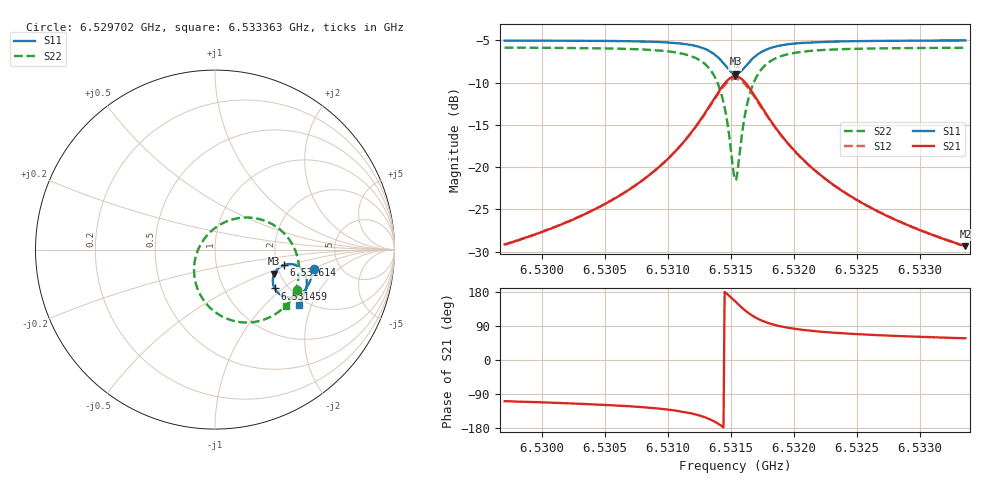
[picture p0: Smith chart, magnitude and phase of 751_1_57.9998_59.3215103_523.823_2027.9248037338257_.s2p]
#  HZ  S  RI  R  50.00
! Rohde & Schwarz Vector Network Analyzer
! Rohde-Schwarz,ZNB20-2Port,1311601062101988,3.16
! Created: UTC 3/21/2024, 1:23:59 AM
! freq[Hz]  re:S11  im:S11  re:S21  im:S21  re:S12  im:S12  re:S22  im:S22
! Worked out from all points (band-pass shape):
!   401 points, 6.529702 GHz to 6.533363 GHz, reference 50 ohm
!   highest |S21| = -9.26 dB at 6.531532 GHz (marker M1); lowest = -29.4 dB at 6.533363 GHz (marker M2)
!   |S21| within 3 dB of the highest: 6.531351 GHz to 6.531718 GHz (366.3 kHz wide, 0.00561 % of centre)
!   lowest |S11| = -9.0 dB at 6.531541 GHz (marker M3), VSWR 2.11, Z = 93.6 - j28.8 ohm
!   |S11| at or under -10 dB: nowhere
!   |S22| runs from -21.5 to -5.9 dB; largest |S21 - S12| = 0.015
!   S11 on the Smith chart (normalised r, x): 6.529702 GHz: 3.21, -0.99; 6.531459 GHz: 1.71, -0.88; 6.531614 GHz: 2.19, -0.44; 6.533363 GHz: 1.81, -1.64
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6.5297016e9  0.55 -0.1063  -0.0112 -0.033  -0.0118 -0.0328  0.4564 -0.2254
6.5303148e9  0.536 -0.1582  -0.0223 -0.0467  -0.0236 -0.046  0.4192 -0.2834
6.5306535e9  0.5224 -0.1908  -0.0366 -0.0604  -0.0383 -0.0593  0.3819 -0.3243
6.530928e9  0.5028 -0.2219  -0.062 -0.0786  -0.0644 -0.0766  0.3251 -0.3663
6.5311477e9  0.47 -0.2513  -0.1105 -0.0982  -0.1134 -0.094  0.2286 -0.4016
6.5313033e9  0.419 -0.2665  -0.19 -0.099  -0.1914 -0.0907  0.0852 -0.3918
6.5313948e9  0.3685 -0.2536  -0.2672 -0.06  -0.2643 -0.0486  -0.0405 -0.3107
6.5314314e9  0.3465 -0.2361  -0.2992 -0.0234  -0.2927 -0.0118  -0.0868 -0.2428
6.5314589e9  0.3326 -0.2162  -0.3179 0.0147  -0.3088 0.0251  -0.1102 -0.176
6.5315138e9  0.3225 -0.1625  -0.3236 0.1114  -0.3103 0.1162  -0.1003 -0.0169
6.5315321e9  0.3269 -0.1434  -0.3126 0.1444  -0.2992 0.1469  -0.0763 0.035
6.5315413e9  0.3305 -0.1342  -0.3047 0.1602  -0.2913 0.1614  -0.0605 0.0589
6.5315596e9  0.3405 -0.1174  -0.2846 0.1885  -0.272 0.1876  -0.0227 0.1016
6.5316145e9  0.3839 -0.0855  -0.2043 0.2409  -0.1962 0.2362  0.1181 0.1732
6.5316419e9  0.4074 -0.0805  -0.1632 0.2486  -0.1572 0.2436  0.1875 0.1787
6.5316785e9  0.435 -0.0825  -0.1155 0.245  -0.1117 0.2408  0.2666 0.1644
6.5317701e9  0.4802 -0.1066  -0.0389 0.2078  -0.0374 0.2056  0.3901 0.0853
6.5319074e9  0.5056 -0.1468  0.00551 0.1517  0.00675 0.1509  0.455 -0.0263
6.5321453e9  0.5115 -0.1942  0.0227 0.096  0.0237 0.0956  0.4677 -0.139
6.5324291e9  0.5047 -0.2311  0.0239 0.0645  0.0249 0.0643  0.4539 -0.2093
6.5327585e9  0.4929 -0.2631  0.0221 0.0456  0.0229 0.0453  0.4336 -0.2586
6.5333626e9  0.4682 -0.3098  0.0183 0.0287  0.0191 0.0283  0.398 -0.316
